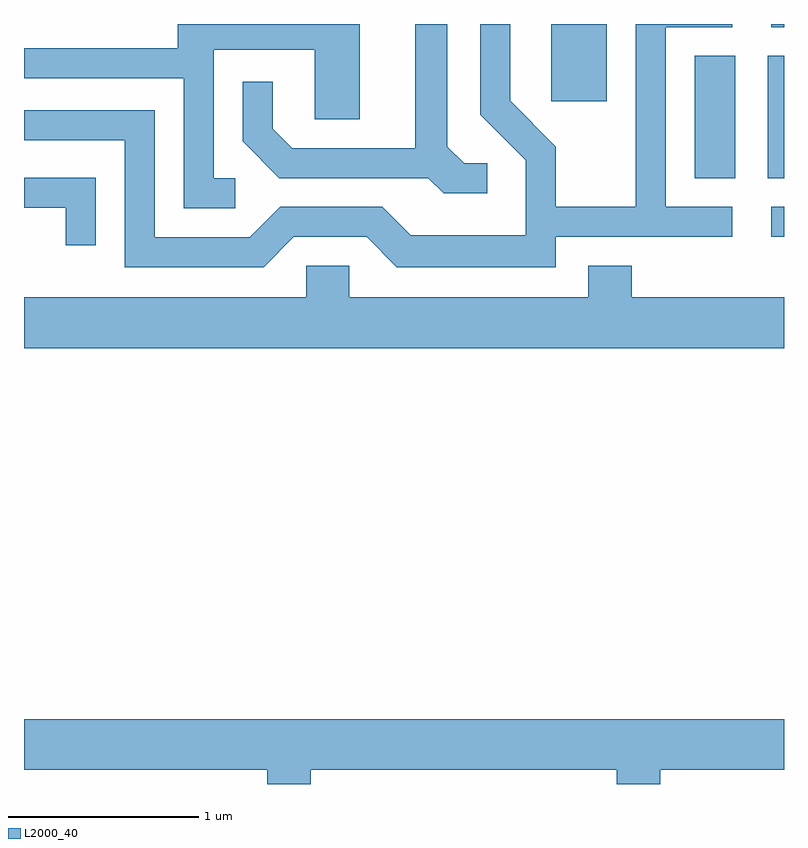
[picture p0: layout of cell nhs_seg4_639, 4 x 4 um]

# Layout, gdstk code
import gdstk
lib = gdstk.Library(unit=1e-6, precision=1e-09)
def R(c, l, rs):  # rectangles x0, y0, x1, y1
    for r in rs: c.add(gdstk.rectangle(r[:2], r[2:], *l))
def P(c, l, *ps):  # polygons
    for p in ps: c.add(gdstk.Polygon(p, *l))
L2000_40 = (2000, 40)

nhs_seg4_639 = lib.new_cell('nhs_seg4_639')
R(nhs_seg4_639, L2000_40, [(207.543,1310.861,207.611,1311.019), (207.141,1311.171,207.354,1311.814), (207.526,1311.171,207.611,1311.814), (206.386,1311.576,206.679,1311.982), (207.543,1311.966,207.611,1311.982)])
P(nhs_seg4_639, L2000_40, [(204.723,1311.169),(204.609,1311.169),(204.609,1311.846),(205.141,1311.846),(205.141,1311.481),(205.379,1311.481),(205.379,1311.982),(204.421,1311.982),(204.421,1311.854),(203.611,1311.854),(203.611,1311.696),(204.451,1311.696),(204.451,1311.011),(204.723,1311.011)],
  [(205.032,1310.861),(205.414,1310.861),(205.574,1310.701),(206.409,1310.701),(206.409,1310.861),(207.338,1310.861),(207.338,1311.019),(206.989,1311.019),(206.989,1311.966),(207.338,1311.966),(207.338,1311.982),(206.831,1311.982),(206.831,1311.019),(206.409,1311.019),(206.409,1311.337),(206.169,1311.577),(206.169,1311.982),(206.011,1311.982),(206.011,1311.504),(206.251,1311.264),(206.251,1310.869),(205.647,1310.869),(205.497,1311.019),(204.959,1311.019),(204.799,1310.859),(204.299,1310.859),(204.299,1311.529),(203.611,1311.529),(203.611,1311.371),(204.141,1311.371),(204.141,1310.701),(204.872,1310.701)],
  [(206.048,1311.249),(205.927,1311.249),(205.839,1311.337),(205.839,1311.982),(205.671,1311.982),(205.671,1311.329),(205.022,1311.329),(204.919,1311.432),(204.919,1311.678),(204.761,1311.678),(204.761,1311.364),(204.954,1311.171),(205.739,1311.171),(205.819,1311.091),(206.048,1311.091)],
  [(203.989,1311.174),(203.611,1311.174),(203.611,1311.016),(203.831,1311.016),(203.831,1310.818),(203.989,1310.818)],
  [(207.611,1310.544),(206.809,1310.544),(206.809,1310.709),(206.581,1310.709),(206.581,1310.544),(205.324,1310.544),(205.324,1310.709),(205.096,1310.709),(205.096,1310.544),(203.611,1310.544),(203.611,1310.276),(207.611,1310.276)],
  [(205.119,1308.056),(206.731,1308.056),(206.731,1307.982),(206.959,1307.982),(206.959,1308.056),(207.611,1308.056),(207.611,1308.324),(203.611,1308.324),(203.611,1308.056),(204.891,1308.056),(204.891,1307.982),(205.119,1307.982)])

lib.write_gds('nhs_seg4_639.gds')
